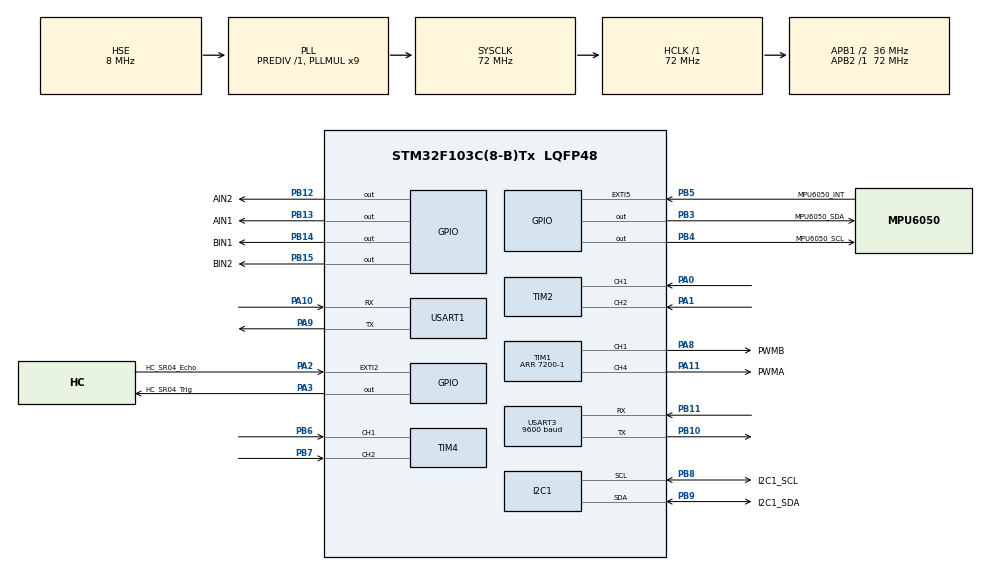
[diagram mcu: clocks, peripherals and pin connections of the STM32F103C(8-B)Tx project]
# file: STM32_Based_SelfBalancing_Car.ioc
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Mcu.Family=STM32F1
Mcu.Name=STM32F103C(8-B)Tx
Mcu.Package=LQFP48
NVIC.EXTI2_IRQn=true\:0\:0\:true\:false\:true\:true\:true\:true
NVIC.EXTI9_5_IRQn=true\:0\:0\:true\:false\:true\:true\:true\:true
NVIC.PriorityGroup=NVIC_PRIORITYGROUP_4
NVIC.USART3_IRQn=true\:0\:0\:true\:false\:true\:true\:true\:true
PA0-WKUP.Signal=S_TIM2_CH1_ETR
PA1.Signal=S_TIM2_CH2
PA10.Mode=Asynchronous
PA10.Signal=USART1_RX
PA11.GPIO_Label=PWMA
PA11.GPIO_Speed=GPIO_SPEED_FREQ_HIGH
PA11.Signal=S_TIM1_CH4
PA13.Mode=Serial_Wire
PA13.Signal=SYS_JTMS-SWDIO
PA14.Mode=Serial_Wire
PA14.Signal=SYS_JTCK-SWCLK
PA2.GPIO_Label=HC_SR04_Echo
PA2.GPIO_ModeDefaultEXTI=GPIO_MODE_IT_RISING_FALLING
PA2.Signal=GPXTI2
PA3.GPIO_Label=HC_SR04_Trig
PA3.GPIO_Speed=GPIO_SPEED_FREQ_HIGH
PA3.Signal=GPIO_Output
PA8.GPIO_Label=PWMB
PA8.GPIO_Speed=GPIO_SPEED_FREQ_HIGH
PA8.Signal=S_TIM1_CH1
PA9.Mode=Asynchronous
PA9.Signal=USART1_TX
PB10.Mode=Asynchronous
PB10.Signal=USART3_TX
PB11.Mode=Asynchronous
PB11.Signal=USART3_RX
PB12.GPIO_Label=AIN2
PB12.GPIO_Speed=GPIO_SPEED_FREQ_HIGH
PB12.Signal=GPIO_Output
PB13.GPIO_Label=AIN1
PB13.GPIO_Speed=GPIO_SPEED_FREQ_HIGH
PB13.Signal=GPIO_Output
PB14.GPIO_Label=BIN1
PB14.GPIO_Speed=GPIO_SPEED_FREQ_HIGH
PB14.Signal=GPIO_Output
PB15.GPIO_Label=BIN2
PB15.GPIO_Speed=GPIO_SPEED_FREQ_HIGH
PB15.Signal=GPIO_Output
PB3.GPIO_Label=MPU6050_SDA
PB3.GPIO_ModeDefaultOutputPP=GPIO_MODE_OUTPUT_OD
PB3.GPIO_PuPd=GPIO_PULLUP
PB3.GPIO_Speed=GPIO_SPEED_FREQ_HIGH
PB3.Signal=GPIO_Output
PB4.GPIO_Label=MPU6050_SCL
PB4.GPIO_ModeDefaultOutputPP=GPIO_MODE_OUTPUT_OD
PB4.GPIO_PuPd=GPIO_PULLUP
PB4.GPIO_Speed=GPIO_SPEED_FREQ_HIGH
PB4.Signal=GPIO_Output
PB5.GPIO_Label=MPU6050_INT
PB5.GPIO_ModeDefaultEXTI=GPIO_MODE_IT_FALLING
PB5.GPIO_PuPd=GPIO_PULLUP
PB5.Signal=GPXTI5
PB6.Signal=S_TIM4_CH1
PB7.Signal=S_TIM4_CH2
PB8.GPIO_Label=I2C1_SCL
PB8.Mode=I2C
PB8.Signal=I2C1_SCL
PB9.GPIO_Label=I2C1_SDA
PB9.Mode=I2C
PB9.Signal=I2C1_SDA
PC14-OSC32_IN.Mode=LSE-External-Oscillator
PC14-OSC32_IN.Signal=RCC_OSC32_IN
PC15-OSC32_OUT.Mode=LSE-External-Oscillator
PC15-OSC32_OUT.Signal=RCC_OSC32_OUT
PD0-OSC_IN.Mode=HSE-External-Oscillator
PD0-OSC_IN.Signal=RCC_OSC_IN
PD1-OSC_OUT.Mode=HSE-External-Oscillator
PD1-OSC_OUT.Signal=RCC_OSC_OUT
ProjectManager.HeapSize=0x200
ProjectManager.StackSize=0x400
ProjectManager.TargetToolchain=MDK-ARM V5.32
RCC.AHBFreq_Value=72000000
RCC.APB1CLKDivider=RCC_HCLK_DIV2
RCC.APB1Freq_Value=36000000
RCC.APB1TimFreq_Value=72000000
RCC.APB2Freq_Value=72000000
RCC.APB2TimFreq_Value=72000000
RCC.HCLKFreq_Value=72000000
RCC.PLLMUL=RCC_PLL_MUL9
RCC.PLLSourceVirtual=RCC_PLLSOURCE_HSE
RCC.SYSCLKFreq_VALUE=72000000
RCC.SYSCLKSource=RCC_SYSCLKSOURCE_PLLCLK
RCC.USBFreq_Value=72000000
SH.S_TIM1_CH1.0=TIM1_CH1,PWM Generation1 CH1
SH.S_TIM1_CH4.0=TIM1_CH4,PWM Generation4 CH4
SH.S_TIM2_CH1_ETR.0=TIM2_CH1,Encoder_Interface
SH.S_TIM2_CH2.0=TIM2_CH2,Encoder_Interface
SH.S_TIM4_CH1.0=TIM4_CH1,Encoder_Interface
SH.S_TIM4_CH2.0=TIM4_CH2,Encoder_Interface
TIM1.Channel-PWM\ Generation1\ CH1=TIM_CHANNEL_1
TIM1.Channel-PWM\ Generation4\ CH4=TIM_CHANNEL_4
TIM1.Period=7200-1
TIM1.Pulse-PWM\ Generation1\ CH1=7200
TIM1.Pulse-PWM\ Generation4\ CH4=7200
TIM2.EncoderMode=TIM_ENCODERMODE_TI12
TIM3.Prescaler=72-1
TIM4.EncoderMode=TIM_ENCODERMODE_TI12
USART1.VirtualMode=VM_ASYNC
USART3.BaudRate=9600
USART3.VirtualMode=VM_ASYNC
VP_TIM3_VS_ClockSourceINT.Mode=Internal
board=custom

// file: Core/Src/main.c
/* USER CODE BEGIN Header */
/**
 ******************************************************************************
 * @file           : main.c
 * @brief          : Main program body
 ******************************************************************************
 * @attention
 *
 * Copyright (c) 2024 STMicroelectronics.
 * All rights reserved.
 *
 * This software is licensed under terms that can be found in the LICENSE file
 * in the root directory of this software component.
 * If no LICENSE file comes with this software, it is provided AS-IS.
 *
 ******************************************************************************
 */
/* USER CODE END Header */
#include "main.h"
#include "i2c.h"
#include "tim.h"
#include "usart.h"
#include "gpio.h"

/* USER CODE BEGIN Includes */
#include "OLED.h"
#include "mpu6050.h"
#include "inv_mpu.h"
#include "inv_mpu_dmp_motion_driver.h"
#include "stdio.h"
#include "HC_SR04.h"
#include "Motor.h"
#include "Encoder.h"
#include "Bluetooth.h"
#include "PID.h"
#include "flash.h"
/* USER CODE END Includes */

/* USER CODE BEGIN PD */
#define PID_buf_length 9
/* USER CODE END PD */

/* USER CODE BEGIN PV */
char display_buffer[30];                                                                             // 显示缓存
uint8_t PID_Flag = 0;                                                                                // PID控制触发标志
float PID_Param_buf[PID_buf_length] = {240.0f, -1.7f, 0.8f, -1.2f, 0.6f, 0.003f, 12.0f, 0.5f, 0.0f}; // PID参数缓存
int8_t PID_buf_index = 0;                                                                            // PID参数索引
float variation = 100.0f;                                                                            // PID参数变化量
/* USER CODE END PV */

void SystemClock_Config(void);

int main(void)
{

  /* MCU Configuration--------------------------------------------------------*/

  /* Reset of all peripherals, Initializes the Flash interface and the Systick. */
  HAL_Init();

  /* Configure the system clock */
  SystemClock_Config();

  /* Initialize all configured peripherals */
  MX_GPIO_Init();
  MX_I2C1_Init();
  MX_TIM3_Init();
  MX_TIM1_Init();
  MX_TIM2_Init();
  MX_TIM4_Init();
  MX_USART3_UART_Init();
  MX_USART1_UART_Init();
  /* USER CODE BEGIN 2 */
  OLED_Init();
  MPU_Init();     // 初始化MPU6050
  mpu_dmp_init(); // 初始化DMP姿态解算
  HAL_NVIC_SetPriority(EXTI9_5_IRQn, 0, 0);
  HAL_NVIC_EnableIRQ(EXTI9_5_IRQn);
  Motor_Init();                                         // 初始化电机
  Encoder_Init();                                       // 初始化编码器
  Bluetooth_Init();                                     // 初始化蓝牙
  Flash_Read_PID_Params(PID_Param_buf, PID_buf_length); // 从Flash读取PID参数

  OLED_ShowString(1, 1, "Initial success!", OLED_8x16);
  HAL_Delay(500);
  OLED_Clear();
  /* USER CODE END 2 */

  /* Infinite loop */
  while (1)
  {

    /* USER CODE BEGIN 3 */
    /* MPU6050 */
    sprintf(display_buffer, "P:%.2f MA:%.2f  ", Pitch, Med_Angle);     // 将Pitch与机械中值转换为字符串
    OLED_ShowString(1, 1, display_buffer, OLED_8x6);                      // 显示Pitch
    sprintf(display_buffer, "R:%.2f Index:%d  ", Roll, PID_buf_index); // 将Roll与参数索引转换为字符串
    OLED_ShowString(2, 1, display_buffer, OLED_8x6);                      // 显示Roll
    sprintf(display_buffer, "Y:%.2f V:%.3f   ", Yaw, variation);         // 将Yaw与分辨率转换为字符串
    OLED_ShowString(3, 1, display_buffer, OLED_8x6);                      // 显示Yaw

    /* HC-SR04 */
    sprintf(display_buffer, "Dis:%.2f L%d R%d    ", distance, Encoder_Left, Encoder_Right); // 将距离与霍尔编码器值转换为字符串
    OLED_ShowString(4, 1, display_buffer, OLED_8x6);                                       // 显示距离

    /* 显示PID参数 */
    Vertical_angle_Kp = PID_Param_buf[0];
    Vertical_angle_Kd = PID_Param_buf[1];
    Vertical_gyro_Kp = PID_Param_buf[2];
    Vertical_gyro_Kd = PID_Param_buf[3];
    Velocity_Kp = PID_Param_buf[4];
    Velocity_Ki = PID_Param_buf[5];
    Turn_Kp = PID_Param_buf[6];
    Turn_Kd = PID_Param_buf[7];
    Med_Angle = PID_Param_buf[8];

    sprintf(display_buffer, "Kp:%.2f Kd:%.2f  ", Vertical_angle_Kp, Vertical_angle_Kd); // 将PID参数转换为字符串
    OLED_ShowString(5, 1, display_buffer, OLED_8x6);                                    // 显示PID参数
    sprintf(display_buffer, "Kp:%.2f Kd:%.2f   ", Vertical_gyro_Kp, Vertical_gyro_Kd);
    OLED_ShowString(6, 1, display_buffer, OLED_8x6);
    sprintf(display_buffer, "Kp:%.2f Ki:%.3f   ", Velocity_Kp, Velocity_Ki);
    OLED_ShowString(7, 1, display_buffer, OLED_8x6);
    sprintf(display_buffer, "Kp:%.2f Kd:%.2f  ", Turn_Kp, Turn_Kd);
    OLED_ShowString(8, 1, display_buffer, OLED_8x6);

    /* 为确保PID控制函数中读取传感器数据周期的准确性，将PID_Control();放置在MPU6050_INT引脚触发的外部中断回调函数中，10ms执行一次 */

    /* 蓝牙控制器 */
    /* 调参模式放置在主函数，控制模式要求及时响应，放置在中断回调函数 */
    if (Car_State == SetParam) // 调参模式
    {
      if (UP_Flag)
      {
        PID_buf_index--;
        if (PID_buf_index < 0)
        {
          PID_buf_index = PID_buf_length - 1; // 循环索引
        }
        UP_Flag = 0;
      }
      else if (DOWN_Flag)
      {
        PID_buf_index++;
        PID_buf_index %= PID_buf_length; // 循环索引
        DOWN_Flag = 0;
      }
      else if (LEFT_Flag)
      {
        PID_Param_buf[PID_buf_index] -= variation;
        LEFT_Flag = 0;
      }
      else if (RIGHT_Flag)
      {
        PID_Param_buf[PID_buf_index] += variation;
        RIGHT_Flag = 0;
      }
      else if (Switch_Resolution_Flag)
      {
        variation /= 10.0;
        if (variation <= 0.0001)
        {
          variation = 100.0;
        }
        Switch_Resolution_Flag = 0;
      }
    }
    /* Flash写入PID控制参数 */
    if (Save_Flag)
    {
      Flash_Write_PID_Params(PID_Param_buf, PID_buf_length);
      OLED_ShowString(6, 20, "!", OLED_8x6);
      Save_Flag = 0;
    }
    else
    {
      OLED_ShowString(6, 20, " ", OLED_8x6);
    }
  }
  /* USER CODE END 3 */
}

void SystemClock_Config(void)
{
  RCC_OscInitTypeDef RCC_OscInitStruct = {0};
  RCC_ClkInitTypeDef RCC_ClkInitStruct = {0};

  /** Initializes the RCC Oscillators according to the specified parameters
   * in the RCC_OscInitTypeDef structure.
   */
  RCC_OscInitStruct.OscillatorType = RCC_OSCILLATORTYPE_HSE;
  RCC_OscInitStruct.HSEState = RCC_HSE_ON;
  RCC_OscInitStruct.HSEPredivValue = RCC_HSE_PREDIV_DIV1;
  RCC_OscInitStruct.HSIState = RCC_HSI_ON;
  RCC_OscInitStruct.PLL.PLLState = RCC_PLL_ON;
  RCC_OscInitStruct.PLL.PLLSource = RCC_PLLSOURCE_HSE;
  RCC_OscInitStruct.PLL.PLLMUL = RCC_PLL_MUL9;
  if (HAL_RCC_OscConfig(&RCC_OscInitStruct) != HAL_OK)
  {
    Error_Handler();
  }

  /** Initializes the CPU, AHB and APB buses clocks
   */
  RCC_ClkInitStruct.ClockType = RCC_CLOCKTYPE_HCLK | RCC_CLOCKTYPE_SYSCLK | RCC_CLOCKTYPE_PCLK1 | RCC_CLOCKTYPE_PCLK2;
  RCC_ClkInitStruct.SYSCLKSource = RCC_SYSCLKSOURCE_PLLCLK;
  RCC_ClkInitStruct.AHBCLKDivider = RCC_SYSCLK_DIV1;
  RCC_ClkInitStruct.APB1CLKDivider = RCC_HCLK_DIV2;
  RCC_ClkInitStruct.APB2CLKDivider = RCC_HCLK_DIV1;

  if (HAL_RCC_ClockConfig(&RCC_ClkInitStruct, FLASH_LATENCY_2) != HAL_OK)
  {
    Error_Handler();
  }
}

/* USER CODE BEGIN 4 */
void HAL_GPIO_EXTI_Callback(uint16_t GPIO_Pin)
{
  if (GPIO_Pin == HC_SR04_Echo_Pin)
  {
    if (HC_SR04_ECHO_isHIGH()) // 上升沿中断
    {
      __HAL_TIM_SetCounter(&htim3, 0);
      HAL_TIM_Base_Start(&htim3);
    }
    else if (HC_SR04_ECHO_isLOW()) // 下降沿中断
    {
      HAL_TIM_Base_Stop(&htim3);
      distance = (float)__HAL_TIM_GetCounter(&htim3) / 1e6 * 340 * 100 / 2;
    }
  }
  if (GPIO_Pin == MPU6050_INT_Pin)
  {
    PID_Control();         // PID主控制器
    HC_SR04_GetDistance(); // 获取HC-SR04距离
  }
}

/* USER CODE END 4 */

void Error_Handler(void)
{
  __disable_irq();
  while (1)
  {
  }
}
